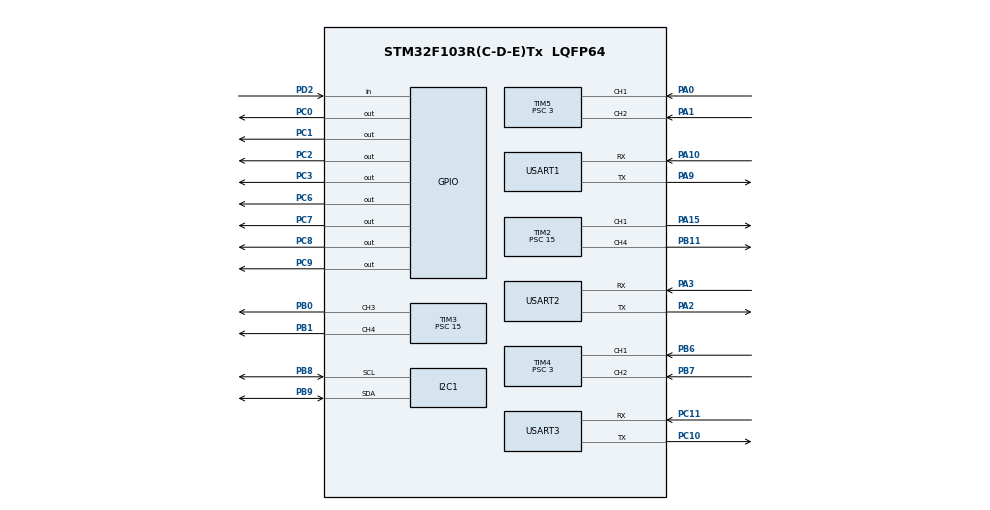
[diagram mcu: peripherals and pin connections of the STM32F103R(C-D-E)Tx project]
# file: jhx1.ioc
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Mcu.Family=STM32F1
Mcu.Name=STM32F103R(C-D-E)Tx
Mcu.Package=LQFP64
NVIC.PriorityGroup=NVIC_PRIORITYGROUP_4
NVIC.TIM1_UP_IRQn=true\:0\:0\:false\:false\:true\:true
NVIC.TIM8_UP_IRQn=true\:0\:0\:false\:false\:true\:true
NVIC.USART1_IRQn=true\:0\:0\:false\:false\:true\:true
NVIC.USART2_IRQn=true\:0\:0\:false\:false\:true\:true
NVIC.USART3_IRQn=true\:0\:0\:false\:false\:true\:true
PA0-WKUP.Signal=S_TIM5_CH1
PA1.Signal=S_TIM5_CH2
PA10.Mode=Asynchronous
PA10.Signal=USART1_RX
PA15.Signal=S_TIM2_CH1_ETR
PA2.Mode=Asynchronous
PA2.Signal=USART2_TX
PA3.Mode=Asynchronous
PA3.Signal=USART2_RX
PA9.Mode=Asynchronous
PA9.Signal=USART1_TX
PB0.Signal=S_TIM3_CH3
PB1.Signal=S_TIM3_CH4
PB11.Signal=S_TIM2_CH4
PB6.Signal=S_TIM4_CH1
PB7.Signal=S_TIM4_CH2
PB8.Mode=I2C
PB8.Signal=I2C1_SCL
PB9.Mode=I2C
PB9.Signal=I2C1_SDA
PC0.Signal=GPIO_Output
PC1.Signal=GPIO_Output
PC10.Mode=Asynchronous
PC10.Signal=USART3_TX
PC11.Mode=Asynchronous
PC11.Signal=USART3_RX
PC2.Signal=GPIO_Output
PC3.Signal=GPIO_Output
PC6.Signal=GPIO_Output
PC7.Signal=GPIO_Output
PC8.Signal=GPIO_Output
PC9.Signal=GPIO_Output
PD2.Signal=GPIO_Input
ProjectManager.HeapSize=0x600
ProjectManager.StackSize=0x600
ProjectManager.TargetToolchain=MDK-ARM V5
RCC.APB1Freq_Value=8000000
RCC.APB2Freq_Value=8000000
SH.S_TIM2_CH1_ETR.0=TIM2_CH1,PWM Generation1 CH1
SH.S_TIM2_CH4.0=TIM2_CH4,PWM Generation4 CH4
SH.S_TIM3_CH3.0=TIM3_CH3,PWM Generation3 CH3
SH.S_TIM3_CH4.0=TIM3_CH4,PWM Generation4 CH4
SH.S_TIM4_CH1.0=TIM4_CH1,Encoder_Interface
SH.S_TIM4_CH2.0=TIM4_CH2,Encoder_Interface
SH.S_TIM5_CH1.0=TIM5_CH1,Encoder_Interface
SH.S_TIM5_CH2.0=TIM5_CH2,Encoder_Interface
TIM1.Period=999
TIM1.Prescaler=79
TIM2.Channel-PWM\ Generation1\ CH1=TIM_CHANNEL_1
TIM2.Channel-PWM\ Generation4\ CH4=TIM_CHANNEL_4
TIM2.Period=99
TIM2.Prescaler=15
TIM3.Channel-PWM\ Generation3\ CH3=TIM_CHANNEL_3
TIM3.Channel-PWM\ Generation4\ CH4=TIM_CHANNEL_4
TIM3.Period=99
TIM3.Prescaler=15
TIM4.EncoderMode=TIM_ENCODERMODE_TI12
TIM4.Period=65535
TIM4.Prescaler=3
TIM5.EncoderMode=TIM_ENCODERMODE_TI12
TIM5.Period=65535
TIM5.Prescaler=3
TIM8.Period=999
TIM8.Prescaler=79
USART1.VirtualMode=VM_ASYNC
USART2.VirtualMode=VM_ASYNC
USART3.VirtualMode=VM_ASYNC
VP_SYS_VS_ND.Mode=No_Debug
VP_TIM1_VS_ClockSourceINT.Mode=Internal
VP_TIM8_VS_ClockSourceINT.Mode=Internal
board=jhx1

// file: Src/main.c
/**
  ******************************************************************************
  * @file           : main.c
  * @brief          : Main program body
  ******************************************************************************
  ** This notice applies to any and all portions of this file
  * that are not between comment pairs USER CODE BEGIN and
  * USER CODE END. Other portions of this file, whether
  * inserted by the user or by software development tools
  * are owned by their respective copyright owners.
  *
  * COPYRIGHT(c) 2018 STMicroelectronics
  *
  * Redistribution and use in source and binary forms, with or without modification,
  * are permitted provided that the following conditions are met:
  *   1. Redistributions of source code must retain the above copyright notice,
  *      this list of conditions and the following disclaimer.
  *   2. Redistributions in binary form must reproduce the above copyright notice,
  *      this list of conditions and the following disclaimer in the documentation
  *      and/or other materials provided with the distribution.
  *   3. Neither the name of STMicroelectronics nor the names of its contributors
  *      may be used to endorse or promote products derived from this software
  *      without specific prior written permission.
  *
  * THIS SOFTWARE IS PROVIDED BY THE COPYRIGHT HOLDERS AND CONTRIBUTORS "AS IS"
  * AND ANY EXPRESS OR IMPLIED WARRANTIES, INCLUDING, BUT NOT LIMITED TO, THE
  * IMPLIED WARRANTIES OF MERCHANTABILITY AND FITNESS FOR A PARTICULAR PURPOSE ARE
  * DISCLAIMED. IN NO EVENT SHALL THE COPYRIGHT HOLDER OR CONTRIBUTORS BE LIABLE
  * FOR ANY DIRECT, INDIRECT, INCIDENTAL, SPECIAL, EXEMPLARY, OR CONSEQUENTIAL
  * DAMAGES (INCLUDING, BUT NOT LIMITED TO, PROCUREMENT OF SUBSTITUTE GOODS OR
  * SERVICES; LOSS OF USE, DATA, OR PROFITS; OR BUSINESS INTERRUPTION) HOWEVER
  * CAUSED AND ON ANY THEORY OF LIABILITY, WHETHER IN CONTRACT, STRICT LIABILITY,
  * OR TORT (INCLUDING NEGLIGENCE OR OTHERWISE) ARISING IN ANY WAY OUT OF THE USE
  * OF THIS SOFTWARE, EVEN IF ADVISED OF THE POSSIBILITY OF SUCH DAMAGE.
  *
  ******************************************************************************
  */
#include "main.h"
#include "stm32f1xx_hal.h"

/* USER CODE BEGIN Includes */
//////////////////////////////////////////////////////////////////////////////////* USER CODE BEGIN Includes */
#include <stdlib.h>
#include <math.h>
#include "FindRoad.h"
#include "decodemessage.h"
#include "utils.h"

//#define DEBUG_TURN
//#define DEBUG_STR

/* USER CODE END Includes */

I2C_HandleTypeDef hi2c1;

TIM_HandleTypeDef htim1;
TIM_HandleTypeDef htim2;
TIM_HandleTypeDef htim3;
TIM_HandleTypeDef htim4;
TIM_HandleTypeDef htim5;
TIM_HandleTypeDef htim8;

UART_HandleTypeDef huart1;
UART_HandleTypeDef huart2;
UART_HandleTypeDef huart3;

/* USER CODE BEGIN PV */
/* Private variables ---------------------------------------------------------*/
//////////////////////////////////////////////////////////////////////////////////* USER CODE BEGIN PV */
//read wifi
uint8_t receive[1];
uint8_t temptext[150];
volatile uint8_t rawtext[70];
int current=0;
volatile uint8_t refreshed=0;
//read BT
uint8_t btreceive[1];
volatile uint8_t bluetooth=0;
//timer for 6050
volatile uint8_t TimeUp=0;
//findroad result
int routestep;
int currentstep;
int destx,desty;
//current situation
double current_angle=180;
uint8_t isA;
uint8_t fre=10;
volatile int leftspeed=0,rightspeed=0;
int idlespeed=0;
float lefterror[3]={0,0,0},righterror[3]={0,0,0};
int leftpwm=0,rightpwm=0;
float destdis,thisdis=0;
int reachsituation=0;
int lastx=0,lasty=0;
int thisx=0,thisy=0;
int whetherslow=0;
/* USER CODE END PV */

void SystemClock_Config(void);
static void MX_GPIO_Init(void);
static void MX_TIM2_Init(void);
static void MX_TIM3_Init(void);
static void MX_TIM4_Init(void);
static void MX_USART3_UART_Init(void);
static void MX_USART1_UART_Init(void);
static void MX_USART2_UART_Init(void);
static void MX_TIM5_Init(void);
static void MX_I2C1_Init(void);
static void MX_TIM8_Init(void);
static void MX_TIM1_Init(void);

void HAL_TIM_MspPostInit(TIM_HandleTypeDef *htim);

/* USER CODE BEGIN PFP */
/* Private function prototypes -----------------------------------------------*/
//////////////////////////////////////////////////////////////////////////////////* USER CODE BEGIN PFP */

double turntoangle(int thisx,int thisy,int lastx,int lasty){
	if(thisx == lastx){
		if(thisy>lasty) return 90;
		else return 270;
	}
	else{
		double temptan=1.0*(thisy-lasty)/(thisx-lastx);
		double tempangle=atan(temptan)*180/3.1416;
		if(thisx>lastx){
			if(tempangle>0) return tempangle;
			else return tempangle+360;
		}
		else{
			return tempangle+180;
		}
	}
}

void go(int l,int r){
	if(r>0){
		__HAL_TIM_SET_COMPARE(&htim3,TIM_CHANNEL_3,r);
		HAL_GPIO_WritePin(GPIOC,GPIO_PIN_0,GPIO_PIN_RESET);
		HAL_GPIO_WritePin(GPIOC,GPIO_PIN_1,GPIO_PIN_SET);
		__HAL_TIM_SET_COMPARE(&htim3,TIM_CHANNEL_4,r);
		HAL_GPIO_WritePin(GPIOC,GPIO_PIN_2,GPIO_PIN_RESET);
		HAL_GPIO_WritePin(GPIOC,GPIO_PIN_3,GPIO_PIN_SET);
	}
	else if(r<0){
		__HAL_TIM_SET_COMPARE(&htim3,TIM_CHANNEL_3,-r);
		HAL_GPIO_WritePin(GPIOC,GPIO_PIN_0,GPIO_PIN_SET);
		HAL_GPIO_WritePin(GPIOC,GPIO_PIN_1,GPIO_PIN_RESET);
		__HAL_TIM_SET_COMPARE(&htim3,TIM_CHANNEL_4,-r);
		HAL_GPIO_WritePin(GPIOC,GPIO_PIN_2,GPIO_PIN_SET);
		HAL_GPIO_WritePin(GPIOC,GPIO_PIN_3,GPIO_PIN_RESET);
	}
	else if(r==0){
		__HAL_TIM_SET_COMPARE(&htim3,TIM_CHANNEL_3,-r);
		HAL_GPIO_WritePin(GPIOC,GPIO_PIN_0,GPIO_PIN_RESET);
		HAL_GPIO_WritePin(GPIOC,GPIO_PIN_1,GPIO_PIN_RESET);
		__HAL_TIM_SET_COMPARE(&htim3,TIM_CHANNEL_4,-r);
		HAL_GPIO_WritePin(GPIOC,GPIO_PIN_2,GPIO_PIN_RESET);
		HAL_GPIO_WritePin(GPIOC,GPIO_PIN_3,GPIO_PIN_RESET);
	}
	if(l>0){
		__HAL_TIM_SET_COMPARE(&htim2,TIM_CHANNEL_1,l);
		HAL_GPIO_WritePin(GPIOC,GPIO_PIN_6,GPIO_PIN_RESET);
		HAL_GPIO_WritePin(GPIOC,GPIO_PIN_7,GPIO_PIN_SET);
		__HAL_TIM_SET_COMPARE(&htim2,TIM_CHANNEL_4,l);
		HAL_GPIO_WritePin(GPIOC,GPIO_PIN_8,GPIO_PIN_RESET);
		HAL_GPIO_WritePin(GPIOC,GPIO_PIN_9,GPIO_PIN_SET);
	}
	else if(l<0){
		__HAL_TIM_SET_COMPARE(&htim2,TIM_CHANNEL_1,-l);
		HAL_GPIO_WritePin(GPIOC,GPIO_PIN_6,GPIO_PIN_SET);
		HAL_GPIO_WritePin(GPIOC,GPIO_PIN_7,GPIO_PIN_RESET);
		__HAL_TIM_SET_COMPARE(&htim2,TIM_CHANNEL_4,-l);
		HAL_GPIO_WritePin(GPIOC,GPIO_PIN_8,GPIO_PIN_SET);
		HAL_GPIO_WritePin(GPIOC,GPIO_PIN_9,GPIO_PIN_RESET);
	}
	else if(l==0){
		__HAL_TIM_SET_COMPARE(&htim2,TIM_CHANNEL_1,-l);
		HAL_GPIO_WritePin(GPIOC,GPIO_PIN_6,GPIO_PIN_RESET);
		HAL_GPIO_WritePin(GPIOC,GPIO_PIN_7,GPIO_PIN_RESET);
		__HAL_TIM_SET_COMPARE(&htim2,TIM_CHANNEL_4,-l);
		HAL_GPIO_WritePin(GPIOC,GPIO_PIN_8,GPIO_PIN_RESET);
		HAL_GPIO_WritePin(GPIOC,GPIO_PIN_9,GPIO_PIN_RESET);
	}
}

/*-----MPU Part Start-----*/
#define	SMPLRT_DIV		0x19
#define	CONFIG			0x1A
#define	GYRO_CONFIG		0x1B
#define	ACCEL_CONFIG	0x1C
#define	ACCEL_XOUT_H	0x3B
#define	ACCEL_XOUT_L	0x3C
#define	ACCEL_YOUT_H	0x3D
#define	ACCEL_YOUT_L	0x3E
#define	ACCEL_ZOUT_H	0x3F
#define	ACCEL_ZOUT_L	0x40
#define	TEMP_OUT_H		0x41
#define	TEMP_OUT_L		0x42
#define	GYRO_XOUT_H		0x43
#define	GYRO_XOUT_L		0x44
#define	GYRO_YOUT_H		0x45
#define	GYRO_YOUT_L		0x46
#define	GYRO_ZOUT_H		0x47
#define	GYRO_ZOUT_L		0x48
#define	PWR_MGMT_1		0x6B
#define	WHO_AM_I		0x75
#define SlaveAddress 0xD0

#define FS_SEL_2000 0x18
#define FS_SEL_1000 0x10
#define FS_SEL_500 0x8
#define FS_SEL_250 0x0
#define FS_SEL FS_SEL_2000
#define GYRO_SCALE_RANGE 2000

int16_t data;
float angle_speed;
float angle=0.0;
float gyro_z_offset=0.0;

void Single_WriteI2C(uint8_t REG_Address, uint8_t REG_Data)
{
	HAL_I2C_Mem_Write(&hi2c1, SlaveAddress, REG_Address ,1 ,&REG_Data, 1, 1000);
}

uint8_t Single_ReadI2C(uint8_t REG_Address)
{
	uint8_t data;
	HAL_I2C_Mem_Read(&hi2c1, SlaveAddress, REG_Address ,1 ,&data, 1, 1000);
	return data;
}

uint16_t Get_MPU_Data(uint8_t REG_Address)
{
	uint8_t H,L;
	H=Single_ReadI2C(REG_Address);
	L=Single_ReadI2C(REG_Address+1);
	return ((uint16_t)H)*256+L;
}

void InitMPU6050()
{
	Single_WriteI2C(PWR_MGMT_1, 0x00);
	Single_WriteI2C(SMPLRT_DIV, 0x07);
	Single_WriteI2C(CONFIG, 0x06);
	Single_WriteI2C(GYRO_CONFIG, FS_SEL);
	Single_WriteI2C(ACCEL_CONFIG, 0x01);

	int i;
	int16_t _data;
	HAL_Delay(1000);
	for(i=1;i<=10;i++)
	{
		_data=Get_MPU_Data(GYRO_ZOUT_H);
		gyro_z_offset+=_data;
		HAL_Delay(100);
	}
	gyro_z_offset/=10;
	printf("offset:%f",gyro_z_offset);
}
/*-----MPU Part end-----*/

double __angle;
//turning left//turning left
void turnleft(double destangle){
	if (destangle >= 45){
		destangle -= 7;
		go(-95,95);
	}
	else if (destangle >= 30){
		destangle -= 6 + (destangle-30)/15.0;
		go(-95,95);
	}
	else if (destangle >= 10){
		destangle -= 4 + (destangle-10)*0.1;
		go(-95,95);
	}
	else{
		destangle/=1.5;
		go(-95,95);
	}
	double tempangle=0;
	while(tempangle<=destangle && tempangle>=-1*destangle){
		if (TimeUp==1){
			data=Get_MPU_Data(GYRO_ZOUT_H);
			angle_speed=(data-gyro_z_offset)*GYRO_SCALE_RANGE/32768.0;
			tempangle+=angle_speed*0.01;
#ifdef DEBUG_TURN
			__angle+=angle_speed*0.01;
#endif
			TimeUp=0;
		}
	}
	go(90,-90);
	HAL_Delay(10);
	go(0,0);
}

void turnright(double destangle){
	if (destangle >= 45){
		destangle -= 7;
		go(95,-95);
	}
	else if (destangle >= 30){
		destangle -= 6 + (destangle-30)/15.0;
		go(95,-95);
	}
	else if (destangle >= 10){
		destangle -= 4 + (destangle-10)*0.1;
		go(95,-95);
	}
	else{
		destangle/=1.5;
		go(95,-95);
	}
	double tempangle=0;
	while(tempangle<=destangle && tempangle>=-1*destangle){
		if (TimeUp==1){
			data=Get_MPU_Data(GYRO_ZOUT_H);
			angle_speed=(data-gyro_z_offset)*GYRO_SCALE_RANGE/32768.0;
			tempangle+=angle_speed*0.01;
#ifdef DEBUG_TURN
			__angle+=angle_speed*0.01;
#endif
			TimeUp=0;
		}
	}
	go(-90,90);
	HAL_Delay(10);
	go(0,0);
}
/* USER CODE END PFP */

/* USER CODE BEGIN 0 */
//////////////////////////////////////////////////////////////////////////////////* USER CODE BEGIN 0 */

/* USER CODE END 0 */

int main(void)
{
  /* USER CODE BEGIN 1 */
//////////////////////////////////////////////////////////////////////////////////* USER CODE BEGIN 1 */

  /* USER CODE END 1 */

  /* MCU Configuration----------------------------------------------------------*/

  /* Reset of all peripherals, Initializes the Flash interface and the Systick. */
  HAL_Init();

  /* Configure the system clock */
  SystemClock_Config();

  /* Initialize all configured peripherals */
  MX_GPIO_Init();
  MX_TIM2_Init();
  MX_TIM3_Init();
  MX_TIM4_Init();
  MX_USART3_UART_Init();
  MX_USART1_UART_Init();
  MX_USART2_UART_Init();
  MX_TIM5_Init();
  MX_I2C1_Init();
  MX_TIM8_Init();
  MX_TIM1_Init();
  /* USER CODE BEGIN 2 */
//////////////////////////////////////////////////////////////////////////////////* USER CODE BEGIN 2 */
	setInitHandle(&huart3);
	uint8_t a[]="--Starting Initializing--\r\n";
	printf("%s",a);
	InitMPU6050();
	printf("mpu6050 initializd");
	uint8_t isA=(HAL_GPIO_ReadPin(GPIOD,GPIO_PIN_2)?0:1);
	isA=1;
	current_angle=270;

#ifndef DEBUG_TURN
#ifndef DEBUG_STR

	/*
	printf("AT\r\n");
	HAL_UART_Transmit(&huart2,"AT\r\n",4,100);
	HAL_Delay(2000);

	printf("AT+CWMODE=3\r\n");
	HAL_UART_Transmit(&huart2,"AT+CWMODE=3\r\n",13,100);
	HAL_Delay(2000);
  */

	printf("AT+RST\r\n");
	HAL_UART_Transmit(&huart2,"AT+RST\r\n",8,100);
	HAL_Delay(1000);

	printf("AT+CWJAP=\"EDC20\",\"12345678\"\r\n");
	HAL_UART_Transmit(&huart2,"AT+CWJAP=\"EDC20\",\"12345678\"\r\n",30,100);
	HAL_Delay(5000);

	printf("AT+CIPSTART=\"TCP\",\"192.168.1.124\",20000\r\n");
	HAL_UART_Transmit(&huart2,"AT+CIPSTART=\"TCP\",\"192.168.1.124\",20000\r\n",41,100);
	HAL_Delay(2000);
#endif
#endif

	HAL_TIM_Base_Start_IT(&htim1);
	HAL_TIM_Base_Start_IT(&htim8);
	HAL_TIM_Encoder_Start(&htim4, TIM_CHANNEL_ALL);
	HAL_TIM_Encoder_Start(&htim5, TIM_CHANNEL_ALL);
	HAL_TIM_PWM_Start(&htim2,TIM_CHANNEL_1);
	HAL_TIM_PWM_Start(&htim2,TIM_CHANNEL_4);
	HAL_TIM_PWM_Start(&htim3,TIM_CHANNEL_3);
	HAL_TIM_PWM_Start(&htim3,TIM_CHANNEL_4);
	HAL_UART_Receive_IT(&huart2,receive,1);
	HAL_UART_Receive_IT(&huart3,btreceive,1);
	MessageInfo* message=(MessageInfo*)malloc(sizeof(MessageInfo));
	//initialize position
	PosList route;
	MapPos TargetPos;

#ifdef DEBUG_STR
	while(1){
		go(100,95);
		HAL_Delay(500);
	}
#endif

#ifdef DEBUG_TURN
	__angle = 0.0;
	int n=0;
	while(1){
		turnleft(5);
		n++;
		int i=0;
		while(1){
			if(TimeUp==1){
				data=Get_MPU_Data(GYRO_ZOUT_H);
				angle_speed=(data-gyro_z_offset)*GYRO_SCALE_RANGE/32768.0;
				__angle+=angle_speed*0.01;
				TimeUp=0;
				i++;
			}
			if(i%50==0) printf("%.1lf\n",__angle/n);
			if(i==100) break;
		}
	}
#endif

	/*
	while(1){
		go(86,80);
	}
	*/

	while(1){
		if(refreshed==1){
			int gamestart=(rawtext[0]& (3 << 6)) >> 6;
			printf("gamecondition=%d\n",gamestart);
			if(gamestart==1) break;
		}
	}

	reachsituation=0;
	currentstep=0;
	whetherslow=0;
	while(1){
		if (refreshed==1){
			msgrefresh((char*)rawtext,message,isA);
			//printf("\nmy_x=%d my_y=%d passengerNum=%d\n",message->my_x,message->my_y,message->passengerNum);
			TargetPos = GetTargetPos(message);
			if(TargetPos.x==-1) continue;
			route=GetPosListWithAngle(*message, 0);
			destx=route.data[0].x;
			desty=route.data[0].y;
			print_pos_list(route);
			lastx=message->my_x;
			lasty=message->my_y;
			destdis=sqrt((destx-lastx)*(destx-lastx)*1.0+(desty-lasty)*(desty-lasty)*1.0);
			thisdis=sqrt((message->my_x-lastx)*(message->my_x-lastx)*1.0+(message->my_y-lasty)*(message->my_y-lasty)*1.0);
			refreshed=0;
			break;
		}
	}
	printf("initialization finished\n");

  /* USER CODE END 2 */

  /* Infinite loop */
  while (1)
  {

  /* USER CODE BEGIN 3 */
//////////////////////////////////////////////////////////////////////////////////* USER CODE BEGIN 3 */
		if (refreshed==1){
			msgrefresh((char*)rawtext,message,isA);
			refreshed=0;
			//pause check***
			int gamestart=(rawtext[0]& (3 << 6)) >> 6;
			if(gamestart==2 || gamestart==3){
				go(0,0);
				while(1){
					if(refreshed==1){
						msgrefresh((char*)rawtext,message,isA);
						refreshed=0;
						int gamestart=(rawtext[0]& (3 << 6)) >> 6;
						if(gamestart==1) break;
					}
				}
			}
			//go straight
			if(reachsituation==0){
				//avoid oppo check***
				//judge1: oppo in front of me
				double judge1=(message->oppo_x-message->my_x)*(message->my_x-lastx)+(message->oppo_y-message->my_y)*(message->my_y-lasty);
				//judge2: oppo too close to me
				double judge2=sqrt((message->oppo_x-message->my_x)*(message->oppo_x-message->my_x)+(message->oppo_y-message->my_y)*(message->oppo_y-message->my_y));
				printf("judge1=%lf,judge2=%lf;",judge1,judge2);
				while(judge1>=0 && judge2<40){
					go(0,0);
					if(refreshed==1){
						printf("judge1=%lf,judge2=%lf;",judge1,judge2);
						refreshed=0;
						msgrefresh((char*)rawtext,message,isA);
						judge1=(message->oppo_x-message->my_x)*(message->my_x-lastx)+(message->oppo_y-message->my_y)*(message->my_y-lasty);
						judge2=sqrt((message->oppo_x-message->my_x)*(message->oppo_x-message->my_x)+(message->oppo_y-message->my_y)*(message->oppo_y-message->my_y));
					}
				}
				thisdis=sqrt((message->my_x-lastx)*(message->my_x-lastx)*1.0+(message->my_y-lasty)*(message->my_y-lasty)*1.0);
				//printf("thisdis=%f,destdis=%f\n",thisdis,destdis);
				if (thisdis <= destdis-15){
					go(99,94);
				}
				if (thisdis > destdis - 15 && thisdis<=destdis-2) {
					if(whetherslow==0){
						go(-80,-80);
						HAL_Delay(30);
						whetherslow=1;
					}
					go(51,50);
				}
				thisdis=sqrt((message->my_x-lastx)*(message->my_x-lastx)*1.0+(message->my_y-lasty)*(message->my_y-lasty)*1.0);
				printf("thisdis=%f,destdis=%f\n",thisdis,destdis);
				if (thisdis <= destdis-15){
					go(90,80);
				}
				/*
				if (thisdis > destdis-15 && thisdis <= destdis-10){
					go(70,70);
				}
				*/
				if (thisdis > destdis - 15 && thisdis<=destdis-2) {
					if(whetherslow==0){
						go(-80,-80);
						HAL_Delay(30);
						whetherslow=1;
					}
					go(51,50);
				}

				thisdis=sqrt((message->my_x-lastx)*(message->my_x-lastx)*1.0+(message->my_y-lasty)*(message->my_y-lasty)*1.0);
				printf("thisdis=%f,destdis=%f\n",thisdis,destdis);
				if (thisdis <= destdis-15){
					go(90,80);
				}
				/*
				if (thisdis > destdis-15 && thisdis <= destdis-10){
					go(70,70);
				}
				*/
				if (thisdis > destdis - 15 && thisdis<=destdis-2) {
					if(whetherslow==0){
						go(-80,-80);
						HAL_Delay(30);
						whetherslow=1;
					}
					go(51,50);
				}

				if(thisdis> destdis-2){
					go(0,0);
					//printf("reach dest:%d,%d\n",destx,desty);
					reachsituation=1;
					currentstep++;
					TargetPos = GetTargetPos(message);
					while(TargetPos.x==-1){
						if(refreshed==1){
							printf("*****\n");
							msgrefresh((char*)rawtext,message,isA);
							refreshed=0;
							TargetPos = GetTargetPos(message);
						}
					}
					if (currentstep == route.num || route.data[route.num-1].x != TargetPos.x ||
					route.data[route.num-1].y != TargetPos.y){
						deletePosList(&route);
						route = GetPosListWithAngle(*message, 0);
						//print_pos_list(route);
						currentstep = 0;
						thisdis = 0;
						if(route.num > 0) {
							destx = route.data[0].x;
							desty = route.data[0].y;
						}
					}
					else{
						destx=route.data[currentstep].x;
						desty=route.data[currentstep].y;
					}
					//HAL_Delay(100);
				}
			}
			//turning
			else if(reachsituation==1){
				whetherslow=0;
				reachsituation=0;
				thisx=message->my_x;
				thisy=message->my_y;
				current_angle=turntoangle(thisx,thisy,lastx,lasty);
				double destangle=turntoangle(destx,desty,thisx,thisy);
				destangle=destangle-current_angle;
				if(destangle>180) destangle-=360;
				if(destangle<-180) destangle+=360;
				//printf("turn left:%f\n",destangle);
				if(destangle>0){
					turnleft(destangle);
				}
				else{
					turnright(-1*destangle);
				}
				go(0,0);
				/*
				if(destangle<10 && destangle>-10){
					HAL_Delay(50);
				}
				else{
				  HAL_Delay(200);
				}
				*/
				//printf("ready to go straight\n");
				//HAL_Delay(200);

				go(51,50);
				HAL_Delay(200);

				lastx=thisx;
				lasty=thisy;
				destdis=sqrt((destx-lastx)*(destx-lastx)*1.0+(desty-lasty)*(desty-lasty)*1.0);
			}
		}//end if situation =1/0
  }//end main while
  /* USER CODE END 3 */

}

void SystemClock_Config(void)
{

  RCC_OscInitTypeDef RCC_OscInitStruct;
  RCC_ClkInitTypeDef RCC_ClkInitStruct;

    /**Initializes the CPU, AHB and APB busses clocks
    */
  RCC_OscInitStruct.OscillatorType = RCC_OSCILLATORTYPE_HSI;
  RCC_OscInitStruct.HSIState = RCC_HSI_ON;
  RCC_OscInitStruct.HSICalibrationValue = 16;
  RCC_OscInitStruct.PLL.PLLState = RCC_PLL_NONE;
  if (HAL_RCC_OscConfig(&RCC_OscInitStruct) != HAL_OK)
  {
    _Error_Handler(__FILE__, __LINE__);
  }

    /**Initializes the CPU, AHB and APB busses clocks
    */
  RCC_ClkInitStruct.ClockType = RCC_CLOCKTYPE_HCLK|RCC_CLOCKTYPE_SYSCLK
                              |RCC_CLOCKTYPE_PCLK1|RCC_CLOCKTYPE_PCLK2;
  RCC_ClkInitStruct.SYSCLKSource = RCC_SYSCLKSOURCE_HSI;
  RCC_ClkInitStruct.AHBCLKDivider = RCC_SYSCLK_DIV1;
  RCC_ClkInitStruct.APB1CLKDivider = RCC_HCLK_DIV1;
  RCC_ClkInitStruct.APB2CLKDivider = RCC_HCLK_DIV1;

  if (HAL_RCC_ClockConfig(&RCC_ClkInitStruct, FLASH_LATENCY_0) != HAL_OK)
  {
    _Error_Handler(__FILE__, __LINE__);
  }

    /**Configure the Systick interrupt time
    */
  HAL_SYSTICK_Config(HAL_RCC_GetHCLKFreq()/1000);

    /**Configure the Systick
    */
  HAL_SYSTICK_CLKSourceConfig(SYSTICK_CLKSOURCE_HCLK);

  /* SysTick_IRQn interrupt configuration */
  HAL_NVIC_SetPriority(SysTick_IRQn, 0, 0);
}

/* I2C1 init function */
static void MX_I2C1_Init(void)
{

  hi2c1.Instance = I2C1;
  hi2c1.Init.ClockSpeed = 100000;
  hi2c1.Init.DutyCycle = I2C_DUTYCYCLE_2;
  hi2c1.Init.OwnAddress1 = 0;
  hi2c1.Init.AddressingMode = I2C_ADDRESSINGMODE_7BIT;
  hi2c1.Init.DualAddressMode = I2C_DUALADDRESS_DISABLE;
  hi2c1.Init.OwnAddress2 = 0;
  hi2c1.Init.GeneralCallMode = I2C_GENERALCALL_DISABLE;
  hi2c1.Init.NoStretchMode = I2C_NOSTRETCH_DISABLE;
  if (HAL_I2C_Init(&hi2c1) != HAL_OK)
  {
    _Error_Handler(__FILE__, __LINE__);
  }

}

/* TIM1 init function */
static void MX_TIM1_Init(void)
{

  TIM_ClockConfigTypeDef sClockSourceConfig;
  TIM_MasterConfigTypeDef sMasterConfig;

  htim1.Instance = TIM1;
  htim1.Init.Prescaler = 79;
  htim1.Init.CounterMode = TIM_COUNTERMODE_UP;
  htim1.Init.Period = 999;
  htim1.Init.ClockDivision = TIM_CLOCKDIVISION_DIV1;
  htim1.Init.RepetitionCounter = 0;
  htim1.Init.AutoReloadPreload = TIM_AUTORELOAD_PRELOAD_DISABLE;
  if (HAL_TIM_Base_Init(&htim1) != HAL_OK)
  {
    _Error_Handler(__FILE__, __LINE__);
  }

  sClockSourceConfig.ClockSource = TIM_CLOCKSOURCE_INTERNAL;
  if (HAL_TIM_ConfigClockSource(&htim1, &sClockSourceConfig) != HAL_OK)
  {
    _Error_Handler(__FILE__, __LINE__);
  }

  sMasterConfig.MasterOutputTrigger = TIM_TRGO_RESET;
  sMasterConfig.MasterSlaveMode = TIM_MASTERSLAVEMODE_DISABLE;
  if (HAL_TIMEx_MasterConfigSynchronization(&htim1, &sMasterConfig) != HAL_OK)
  {
    _Error_Handler(__FILE__, __LINE__);
  }

}

/* TIM2 init function */
static void MX_TIM2_Init(void)
{

  TIM_MasterConfigTypeDef sMasterConfig;
  TIM_OC_InitTypeDef sConfigOC;

  htim2.Instance = TIM2;
  htim2.Init.Prescaler = 15;
  htim2.Init.CounterMode = TIM_COUNTERMODE_UP;
  htim2.Init.Period = 99;
  htim2.Init.ClockDivision = TIM_CLOCKDIVISION_DIV1;
  htim2.Init.AutoReloadPreload = TIM_AUTORELOAD_PRELOAD_DISABLE;
  if (HAL_TIM_PWM_Init(&htim2) != HAL_OK)
  {
    _Error_Handler(__FILE__, __LINE__);
  }

  sMasterConfig.MasterOutputTrigger = TIM_TRGO_RESET;
  sMasterConfig.MasterSlaveMode = TIM_MASTERSLAVEMODE_DISABLE;
  if (HAL_TIMEx_MasterConfigSynchronization(&htim2, &sMasterConfig) != HAL_OK)
  {
    _Error_Handler(__FILE__, __LINE__);
  }

  sConfigOC.OCMode = TIM_OCMODE_PWM1;
  sConfigOC.Pulse = 0;
  sConfigOC.OCPolarity = TIM_OCPOLARITY_HIGH;
  sConfigOC.OCFastMode = TIM_OCFAST_DISABLE;
  if (HAL_TIM_PWM_ConfigChannel(&htim2, &sConfigOC, TIM_CHANNEL_1) != HAL_OK)
  {
    _Error_Handler(__FILE__, __LINE__);
  }

  if (HAL_TIM_PWM_ConfigChannel(&htim2, &sConfigOC, TIM_CHANNEL_4) != HAL_OK)
  {
    _Error_Handler(__FILE__, __LINE__);
  }

  HAL_TIM_MspPostInit(&htim2);

}

/* TIM3 init function */
static void MX_TIM3_Init(void)
{

  TIM_MasterConfigTypeDef sMasterConfig;
  TIM_OC_InitTypeDef sConfigOC;

  htim3.Instance = TIM3;
  htim3.Init.Prescaler = 15;
  htim3.Init.CounterMode = TIM_COUNTERMODE_UP;
  htim3.Init.Period = 99;
  htim3.Init.ClockDivision = TIM_CLOCKDIVISION_DIV1;
  htim3.Init.AutoReloadPreload = TIM_AUTORELOAD_PRELOAD_DISABLE;
  if (HAL_TIM_PWM_Init(&htim3) != HAL_OK)
  {
    _Error_Handler(__FILE__, __LINE__);
  }

  sMasterConfig.MasterOutputTrigger = TIM_TRGO_RESET;
  sMasterConfig.MasterSlaveMode = TIM_MASTERSLAVEMODE_DISABLE;
  if (HAL_TIMEx_MasterConfigSynchronization(&htim3, &sMasterConfig) != HAL_OK)
  {
    _Error_Handler(__FILE__, __LINE__);
  }

  sConfigOC.OCMode = TIM_OCMODE_PWM1;
  sConfigOC.Pulse = 0;
  sConfigOC.OCPolarity = TIM_OCPOLARITY_HIGH;
  sConfigOC.OCFastMode = TIM_OCFAST_DISABLE;
  if (HAL_TIM_PWM_ConfigChannel(&htim3, &sConfigOC, TIM_CHANNEL_3) != HAL_OK)
  {
    _Error_Handler(__FILE__, __LINE__);
  }

  if (HAL_TIM_PWM_ConfigChannel(&htim3, &sConfigOC, TIM_CHANNEL_4) != HAL_OK)
  {
    _Error_Handler(__FILE__, __LINE__);
  }

  HAL_TIM_MspPostInit(&htim3);

}

/* TIM4 init function */
static void MX_TIM4_Init(void)
{

  TIM_Encoder_InitTypeDef sConfig;
  TIM_MasterConfigTypeDef sMasterConfig;

  htim4.Instance = TIM4;
  htim4.Init.Prescaler = 3;
  htim4.Init.CounterMode = TIM_COUNTERMODE_UP;
  htim4.Init.Period = 65535;
  htim4.Init.ClockDivision = TIM_CLOCKDIVISION_DIV1;
  htim4.Init.AutoReloadPreload = TIM_AUTORELOAD_PRELOAD_DISABLE;
  sConfig.EncoderMode = TIM_ENCODERMODE_TI12;
  sConfig.IC1Polarity = TIM_ICPOLARITY_RISING;
  sConfig.IC1Selection = TIM_ICSELECTION_DIRECTTI;
  sConfig.IC1Prescaler = TIM_ICPSC_DIV1;
  sConfig.IC1Filter = 0;
  sConfig.IC2Polarity = TIM_ICPOLARITY_RISING;
  sConfig.IC2Selection = TIM_ICSELECTION_DIRECTTI;
  sConfig.IC2Prescaler = TIM_ICPSC_DIV1;
  sConfig.IC2Filter = 0;
  if (HAL_TIM_Encoder_Init(&htim4, &sConfig) != HAL_OK)
  {
    _Error_Handler(__FILE__, __LINE__);
  }

  sMasterConfig.MasterOutputTrigger = TIM_TRGO_RESET;
  sMasterConfig.MasterSlaveMode = TIM_MASTERSLAVEMODE_DISABLE;
  if (HAL_TIMEx_MasterConfigSynchronization(&htim4, &sMasterConfig) != HAL_OK)
  {
    _Error_Handler(__FILE__, __LINE__);
  }

}

/* TIM5 init function */
static void MX_TIM5_Init(void)
{

  TIM_Encoder_InitTypeDef sConfig;
  TIM_MasterConfigTypeDef sMasterConfig;

  htim5.Instance = TIM5;
  htim5.Init.Prescaler = 3;
  htim5.Init.CounterMode = TIM_COUNTERMODE_UP;
  htim5.Init.Period = 65535;
  htim5.Init.ClockDivision = TIM_CLOCKDIVISION_DIV1;
  htim5.Init.AutoReloadPreload = TIM_AUTORELOAD_PRELOAD_DISABLE;
  sConfig.EncoderMode = TIM_ENCODERMODE_TI12;
  sConfig.IC1Polarity = TIM_ICPOLARITY_RISING;
  sConfig.IC1Selection = TIM_ICSELECTION_DIRECTTI;
  sConfig.IC1Prescaler = TIM_ICPSC_DIV1;
  sConfig.IC1Filter = 0;
  sConfig.IC2Polarity = TIM_ICPOLARITY_RISING;
  sConfig.IC2Selection = TIM_ICSELECTION_DIRECTTI;
  sConfig.IC2Prescaler = TIM_ICPSC_DIV1;
  sConfig.IC2Filter = 0;
  if (HAL_TIM_Encoder_Init(&htim5, &sConfig) != HAL_OK)
  {
    _Error_Handler(__FILE__, __LINE__);
  }

  sMasterConfig.MasterOutputTrigger = TIM_TRGO_RESET;
  sMasterConfig.MasterSlaveMode = TIM_MASTERSLAVEMODE_DISABLE;
  if (HAL_TIMEx_MasterConfigSynchronization(&htim5, &sMasterConfig) != HAL_OK)
  {
    _Error_Handler(__FILE__, __LINE__);
  }

}

/* TIM8 init function */
static void MX_TIM8_Init(void)
{

  TIM_ClockConfigTypeDef sClockSourceConfig;
  TIM_MasterConfigTypeDef sMasterConfig;

  htim8.Instance = TIM8;
  htim8.Init.Prescaler = 79;
  htim8.Init.CounterMode = TIM_COUNTERMODE_UP;
  htim8.Init.Period = 999;
  htim8.Init.ClockDivision = TIM_CLOCKDIVISION_DIV1;
  htim8.Init.RepetitionCounter = 0;
  htim8.Init.AutoReloadPreload = TIM_AUTORELOAD_PRELOAD_DISABLE;
  if (HAL_TIM_Base_Init(&htim8) != HAL_OK)
  {
    _Error_Handler(__FILE__, __LINE__);
  }

  sClockSourceConfig.ClockSource = TIM_CLOCKSOURCE_INTERNAL;
  if (HAL_TIM_ConfigClockSource(&htim8, &sClockSourceConfig) != HAL_OK)
  {
    _Error_Handler(__FILE__, __LINE__);
  }

  sMasterConfig.MasterOutputTrigger = TIM_TRGO_RESET;
  sMasterConfig.MasterSlaveMode = TIM_MASTERSLAVEMODE_DISABLE;
  if (HAL_TIMEx_MasterConfigSynchronization(&htim8, &sMasterConfig) != HAL_OK)
  {
    _Error_Handler(__FILE__, __LINE__);
  }

}

/* USART1 init function */
static void MX_USART1_UART_Init(void)
{

  huart1.Instance = USART1;
  huart1.Init.BaudRate = 115200;
  huart1.Init.WordLength = UART_WORDLENGTH_8B;
  huart1.Init.StopBits = UART_STOPBITS_1;
  huart1.Init.Parity = UART_PARITY_NONE;
  huart1.Init.Mode = UART_MODE_TX_RX;
  huart1.Init.HwFlowCtl = UART_HWCONTROL_NONE;
  huart1.Init.OverSampling = UART_OVERSAMPLING_16;
  if (HAL_UART_Init(&huart1) != HAL_OK)
  {
    _Error_Handler(__FILE__, __LINE__);
  }

}

/* USART2 init function */
static void MX_USART2_UART_Init(void)
{

  huart2.Instance = USART2;
  huart2.Init.BaudRate = 115200;
  huart2.Init.WordLength = UART_WORDLENGTH_8B;
  huart2.Init.StopBits = UART_STOPBITS_1;
  huart2.Init.Parity = UART_PARITY_NONE;
  huart2.Init.Mode = UART_MODE_TX_RX;
  huart2.Init.HwFlowCtl = UART_HWCONTROL_NONE;
  huart2.Init.OverSampling = UART_OVERSAMPLING_16;
  if (HAL_UART_Init(&huart2) != HAL_OK)
  {
    _Error_Handler(__FILE__, __LINE__);
  }

}

/* USART3 init function */
static void MX_USART3_UART_Init(void)
{

  huart3.Instance = USART3;
  huart3.Init.BaudRate = 115200;
  huart3.Init.WordLength = UART_WORDLENGTH_8B;
  huart3.Init.StopBits = UART_STOPBITS_1;
  huart3.Init.Parity = UART_PARITY_NONE;
  huart3.Init.Mode = UART_MODE_TX_RX;
  huart3.Init.HwFlowCtl = UART_HWCONTROL_NONE;
  huart3.Init.OverSampling = UART_OVERSAMPLING_16;
  if (HAL_UART_Init(&huart3) != HAL_OK)
  {
    _Error_Handler(__FILE__, __LINE__);
  }

}

/** Configure pins as
        * Analog
        * Input
        * Output
        * EVENT_OUT
        * EXTI
*/
static void MX_GPIO_Init(void)
{

  GPIO_InitTypeDef GPIO_InitStruct;

  /* GPIO Ports Clock Enable */
  __HAL_RCC_GPIOC_CLK_ENABLE();
  __HAL_RCC_GPIOA_CLK_ENABLE();
  __HAL_RCC_GPIOB_CLK_ENABLE();
  __HAL_RCC_GPIOD_CLK_ENABLE();

  /*Configure GPIO pin Output Level */
  HAL_GPIO_WritePin(GPIOC, GPIO_PIN_0|GPIO_PIN_1|GPIO_PIN_2|GPIO_PIN_3
                          |GPIO_PIN_6|GPIO_PIN_7|GPIO_PIN_8|GPIO_PIN_9, GPIO_PIN_RESET);

  /*Configure GPIO pins : PC0 PC1 PC2 PC3
                           PC6 PC7 PC8 PC9 */
  GPIO_InitStruct.Pin = GPIO_PIN_0|GPIO_PIN_1|GPIO_PIN_2|GPIO_PIN_3
                          |GPIO_PIN_6|GPIO_PIN_7|GPIO_PIN_8|GPIO_PIN_9;
  GPIO_InitStruct.Mode = GPIO_MODE_OUTPUT_PP;
  GPIO_InitStruct.Speed = GPIO_SPEED_FREQ_LOW;
  HAL_GPIO_Init(GPIOC, &GPIO_InitStruct);

  /*Configure GPIO pin : PD2 */
  GPIO_InitStruct.Pin = GPIO_PIN_2;
  GPIO_InitStruct.Mode = GPIO_MODE_INPUT;
  GPIO_InitStruct.Pull = GPIO_NOPULL;
  HAL_GPIO_Init(GPIOD, &GPIO_InitStruct);

}

/* USER CODE BEGIN 4 */
//////////////////////////////////////////////////////////////////////////////////* USER CODE BEGIN 4 */
void HAL_UART_RxCpltCallback(UART_HandleTypeDef *huart)
{
	UNUSED(huart);
	if(huart->Instance==USART3){
		refreshed=1;
		bluetooth=btreceive[0]-48;
		printf("%d",bluetooth);
		HAL_UART_Receive_IT(&huart3,btreceive,1);
	}
	if (huart->Instance==USART2){
		temptext[current]=receive[0];
		current++;
		if (temptext[current-1]==0x0A && temptext[current-2]==0x0D && current>=64){
			for(int i=0;i<64;i++){
				rawtext[i]=temptext[current-64+i];
			}
		  current=0;
			refreshed=1;
		}
		HAL_UART_Receive_IT(&huart2,receive,1);
	}
	if (huart->Instance==USART1){
	}
}

void HAL_TIM_PeriodElapsedCallback(TIM_HandleTypeDef *htim)
{
  if (htim->Instance==TIM1){
		rightspeed = (int)(__HAL_TIM_GET_COUNTER(&htim4))*fre/8;
		leftspeed = (int)(__HAL_TIM_GET_COUNTER(&htim5))*fre/8;
		__HAL_TIM_SET_COUNTER(&htim4, 0);
		__HAL_TIM_SET_COUNTER(&htim5, 0);
	}
	if (htim->Instance==TIM8){
		TimeUp=1;
	}
}

/* USER CODE END 4 */

void _Error_Handler(char *file, int line)
{
  while(1)
  {
  }
}

/************************ (C) COPYRIGHT STMicroelectronics *****END OF FILE****/
